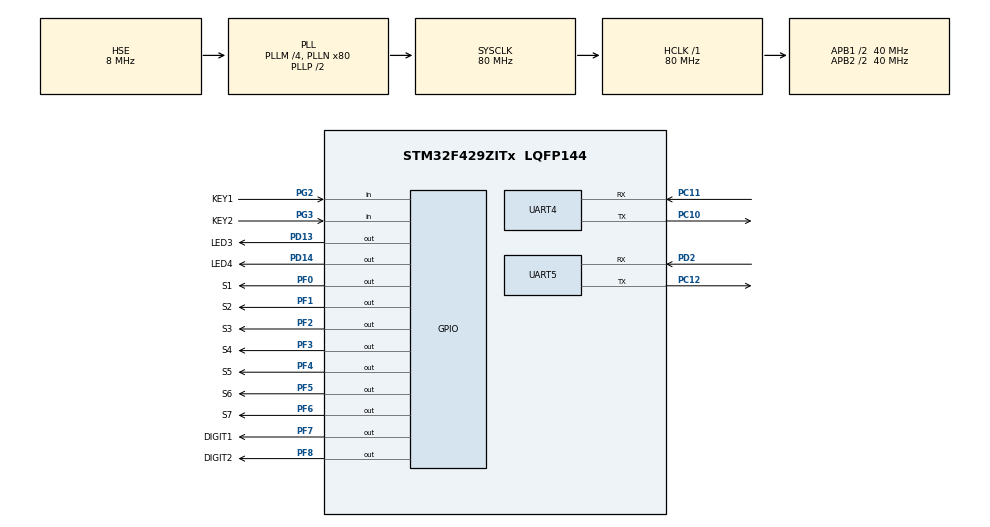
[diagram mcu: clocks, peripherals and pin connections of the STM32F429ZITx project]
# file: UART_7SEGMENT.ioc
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Mcu.Family=STM32F4
Mcu.Name=STM32F429ZITx
Mcu.Package=LQFP144
NVIC.PriorityGroup=NVIC_PRIORITYGROUP_0
NVIC.TIM3_IRQn=true\:0\:0\:false\:false\:true\:true\:true
NVIC.TIM4_IRQn=true\:0\:0\:false\:false\:true\:true\:true
NVIC.UART4_IRQn=true\:0\:0\:false\:false\:true\:true\:true
NVIC.UART5_IRQn=true\:0\:0\:false\:false\:true\:true\:true
PA13.Mode=Serial_Wire
PA13.Signal=SYS_JTMS-SWDIO
PA14.Mode=Serial_Wire
PA14.Signal=SYS_JTCK-SWCLK
PC10.Mode=Asynchronous
PC10.Signal=UART4_TX
PC11.Mode=Asynchronous
PC11.Signal=UART4_RX
PC12.Mode=Asynchronous
PC12.Signal=UART5_TX
PD13.GPIO_Label=LED3
PD13.Signal=GPIO_Output
PD14.GPIO_Label=LED4
PD14.Signal=GPIO_Output
PD2.Mode=Asynchronous
PD2.Signal=UART5_RX
PF0.GPIO_Label=S1
PF0.Signal=GPIO_Output
PF1.GPIO_Label=S2
PF1.Signal=GPIO_Output
PF2.GPIO_Label=S3
PF2.Signal=GPIO_Output
PF3.GPIO_Label=S4
PF3.Signal=GPIO_Output
PF4.GPIO_Label=S5
PF4.Signal=GPIO_Output
PF5.GPIO_Label=S6
PF5.Signal=GPIO_Output
PF6.GPIO_Label=S7
PF6.Signal=GPIO_Output
PF7.GPIO_Label=DIGIT1
PF7.Signal=GPIO_Output
PF8.GPIO_Label=DIGIT2
PF8.Signal=GPIO_Output
PG2.GPIO_Label=KEY1
PG2.GPIO_PuPd=GPIO_PULLUP
PG2.Signal=GPIO_Input
PG3.GPIO_Label=KEY2
PG3.GPIO_PuPd=GPIO_PULLUP
PG3.Signal=GPIO_Input
PH0/OSC_IN.Mode=HSE-External-Oscillator
PH0/OSC_IN.Signal=RCC_OSC_IN
PH1/OSC_OUT.Mode=HSE-External-Oscillator
PH1/OSC_OUT.Signal=RCC_OSC_OUT
ProjectManager.HeapSize=0x200
ProjectManager.StackSize=0x400
ProjectManager.TargetToolchain=STM32CubeIDE
RCC.48MHZClocksFreq_Value=53333333.333333336
RCC.AHBFreq_Value=80000000
RCC.APB1CLKDivider=RCC_HCLK_DIV2
RCC.APB1Freq_Value=40000000
RCC.APB1TimFreq_Value=80000000
RCC.APB2CLKDivider=RCC_HCLK_DIV2
RCC.APB2Freq_Value=40000000
RCC.APB2TimFreq_Value=80000000
RCC.CortexFreq_Value=80000000
RCC.HCLKFreq_Value=80000000
RCC.HSE_VALUE=8000000
RCC.HSI_VALUE=16000000
RCC.LSE_VALUE=32768
RCC.PLLM=4
RCC.PLLN=80
RCC.PLLQ=3
RCC.PLLSourceVirtual=RCC_PLLSOURCE_HSE
RCC.RCC_TIM_PRescaler_Selection=RCC_TIMPRES_DESACTIVATED
RCC.SYSCLKFreq_VALUE=80000000
RCC.SYSCLKSource=RCC_SYSCLKSOURCE_PLLCLK
RCC.VCOOutputFreq_Value=160000000
TIM3.ClockDivision=TIM_CLOCKDIVISION_DIV4
TIM3.Period=99
TIM3.Prescaler=199
TIM4.ClockDivision=TIM_CLOCKDIVISION_DIV4
TIM4.Period=999
TIM4.Prescaler=199
UART4.VirtualMode=Asynchronous
UART5.VirtualMode=Asynchronous
VP_TIM3_VS_ClockSourceINT.Mode=Internal
VP_TIM4_VS_ClockSourceINT.Mode=Internal
board=STM32F429I-DISC1

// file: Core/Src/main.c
/* USER CODE BEGIN Header */
/**
  ******************************************************************************
  * @file           : main.c
  * @brief          : Main program body
  ******************************************************************************
  * @attention
  *
  * Copyright (c) 2022 STMicroelectronics.
  * All rights reserved.
  *
  * This software is licensed under terms that can be found in the LICENSE file
  * in the root directory of this software component.
  * If no LICENSE file comes with this software, it is provided AS-IS.
  *
  ******************************************************************************
  */
/* USER CODE END Header */
#include "main.h"
#include "tim.h"
#include "usart.h"
#include "gpio.h"

/* USER CODE BEGIN PV */
unsigned char f_timer_TX=0;
unsigned char f_seg_timer_500ms;
unsigned char f_timer_100us =0;
unsigned char f_timer_10ms=0;

unsigned char f_timer_30ms=0;
unsigned char i,p_tx1,p_tx2;
unsigned char flag_digit_1=1;
unsigned char tx[3];
unsigned char test[6]={"HELLO\n"};
unsigned char tx2_buffer[10]={"123456789"};
unsigned char tx1_buffer[6]={"abcdef"};

unsigned char rx_buffer1[64];
unsigned char rx_buffer2[64];

unsigned char bufferEvent[64];
unsigned char d_timer_30ms;
unsigned char d_timer_TX;
unsigned char TX_delay_val =255;
unsigned char key1_data, key2_data;
unsigned char state,event;
unsigned char e_rp,e_wp;
unsigned char rx1_rp,rx1_wp;
unsigned char rx2_rp,rx2_wp;

unsigned char uart_tx1_flag,uart_tx2_flag;
unsigned char flag_state_tx1, flag_state_tx;

unsigned char digit1,digit2;
char seven_segment_table[17] = {	0b1111110,	// '0'
		    	0b0110000,	// '1'
		   	0b1101101,	// '2'
			0b1111001,	// '3'
			0b0110011,	// '4'
			0b1011011,	// '5'
			0b1011111,	// '6'
			0b1110000,	// '7'
			0b1111111,	// '8'
			0b1111011,	// '9'
			0b1111101,	// 'a'  --10
			0b0011111,	// 'b'  --11
			0b0001101,	// 'c'  --12
			0b0111101,	// 'd'  --13
			0b1101111,	// 'e'	--14
			0b1000111,	// 'f'  --15
			0b0000001 	// '-'  --16

};
/* USER CODE END PV */

void SystemClock_Config(void);
/* USER CODE BEGIN PFP */
void task_timer(void);
void counting_task(void);
void uart_TX2_task(void);
void uart_TX1_task(void);
void uart_RX1_task(void);
void uart_RX2_task(void);
void led_display_task(void);
void key_read_task(void);
void main_task(void);
void setEvent(unsigned char event);
unsigned char getEvent(void);
void seven_segment_driver(char input,char select_digit);
void TX_delay_decrease(void);
/* USER CODE END PFP */

int main(void)
{

  /* MCU Configuration--------------------------------------------------------*/

  /* Reset of all peripherals, Initializes the Flash interface and the Systick. */
  HAL_Init();

  /* Configure the system clock */
  SystemClock_Config();

  /* Initialize all configured peripherals */
  MX_GPIO_Init();
  MX_TIM3_Init();
  MX_TIM4_Init();
  MX_UART4_Init();
  MX_UART5_Init();
  /* USER CODE BEGIN 2 */
  HAL_TIM_Base_Start_IT(&htim3);
  HAL_TIM_Base_Start_IT(&htim4);

  rx1_rp=0;
  rx2_rp=0;
  rx1_wp=0;
  rx2_wp=0;

  HAL_UART_Receive_IT(&huart4, &rx_buffer1[rx1_wp], 1);
  HAL_UART_Receive_IT(&huart5, &rx_buffer2[rx2_wp], 1);

  /* USER CODE END 2 */

  /* Infinite loop */
  while (1)
  {

    /* USER CODE BEGIN 3 */

	  	  	 task_timer();
	  	     led_display_task();
	  	     key_read_task();

	  	     uart_RX2_task();
	  	     uart_RX1_task();

	  	    // main_task();
  }
  /* USER CODE END 3 */
}

void SystemClock_Config(void)
{
  RCC_OscInitTypeDef RCC_OscInitStruct = {0};
  RCC_ClkInitTypeDef RCC_ClkInitStruct = {0};

  /** Configure the main internal regulator output voltage
  */
  __HAL_RCC_PWR_CLK_ENABLE();
  __HAL_PWR_VOLTAGESCALING_CONFIG(PWR_REGULATOR_VOLTAGE_SCALE3);
  /** Initializes the RCC Oscillators according to the specified parameters
  * in the RCC_OscInitTypeDef structure.
  */
  RCC_OscInitStruct.OscillatorType = RCC_OSCILLATORTYPE_HSE;
  RCC_OscInitStruct.HSEState = RCC_HSE_ON;
  RCC_OscInitStruct.PLL.PLLState = RCC_PLL_ON;
  RCC_OscInitStruct.PLL.PLLSource = RCC_PLLSOURCE_HSE;
  RCC_OscInitStruct.PLL.PLLM = 4;
  RCC_OscInitStruct.PLL.PLLN = 80;
  RCC_OscInitStruct.PLL.PLLP = RCC_PLLP_DIV2;
  RCC_OscInitStruct.PLL.PLLQ = 3;
  if (HAL_RCC_OscConfig(&RCC_OscInitStruct) != HAL_OK)
  {
    Error_Handler();
  }
  /** Initializes the CPU, AHB and APB buses clocks
  */
  RCC_ClkInitStruct.ClockType = RCC_CLOCKTYPE_HCLK|RCC_CLOCKTYPE_SYSCLK
                              |RCC_CLOCKTYPE_PCLK1|RCC_CLOCKTYPE_PCLK2;
  RCC_ClkInitStruct.SYSCLKSource = RCC_SYSCLKSOURCE_PLLCLK;
  RCC_ClkInitStruct.AHBCLKDivider = RCC_SYSCLK_DIV1;
  RCC_ClkInitStruct.APB1CLKDivider = RCC_HCLK_DIV2;
  RCC_ClkInitStruct.APB2CLKDivider = RCC_HCLK_DIV2;

  if (HAL_RCC_ClockConfig(&RCC_ClkInitStruct, FLASH_LATENCY_2) != HAL_OK)
  {
    Error_Handler();
  }
}

/* USER CODE BEGIN 4 */

void uart_RX2_task(void)
{

	if(rx2_rp==rx2_wp) return;

	switch(rx_buffer2[rx2_rp++])
	{
		case 'a':
			digit2=10;
			break;
		case 'b':
			digit2=11;
			break;
		case 'c':
			digit2=12;
			break;
		case 'd':
			digit2=13;
			break;
		case 'e':
			digit2=14;
			break;
		case 'f':
			digit2=15;
			break;
		default:
			break;
	}

	if(rx2_rp>63){
    		rx2_rp=0;
   	 }

}

void uart_RX1_task(void)
{

	if(rx1_rp==rx1_wp) return;

	switch(rx_buffer1[rx1_rp++])
	{
		case '0':
			digit1=0;
			break;
		case '1':
			digit1=1;
			break;
		case '2':
			digit1=2;
			break;
		case '3':
			digit1=3;
			break;

		case '4':
			digit1=4;
			break;
		case '5':
			digit1=5;
			break;
		case '6':
			digit1=6;
			break;
		case '7':
			digit1=7;
			break;
		case '8':
			digit1=8;
			break;
		case '9':
			digit1=9;
			break;
		default:
			break;
	}

	if(rx1_rp>63){
    		rx1_rp=0;
   	 }

}

void led_display_task(void)
{
   if(!f_timer_100us) return;
   f_timer_100us =0;

   flag_digit_1=(~flag_digit_1)&0x1;
   if (flag_digit_1){
	   seven_segment_driver(seven_segment_table[digit1],flag_digit_1);
   }
   else{
	   seven_segment_driver(seven_segment_table[digit2],flag_digit_1);
   }

}

void task_timer(void)
{
	if(!f_timer_10ms) return;       // checking if 10 ms timer interrupt is set (10 ms), if set then do timer task
	f_timer_10ms =0;		// clear the flag to wait next interupt

	d_timer_30ms++;			// count timer for 30 ms interval
				// count timer for LED interval

	if(d_timer_30ms==3)		// checking if the count reached 30 ms
	{
		d_timer_30ms =0;	// assign "0" to repeat counting
		f_timer_30ms=1;		// Set flag to inform 30 ms timer is done counting
	}

	d_timer_TX++;
	if(d_timer_TX>=TX_delay_val)     // checking if the count reached LED interval
	{
		d_timer_TX=0;		// assign "0" to repeat counting
		f_timer_TX=1;

	}

}

void key_read_task(void)
{
	if(!f_timer_30ms) return;  		 // Checking if 30 ms counting is done
	f_timer_30ms =0;          		 // clear the flag to wait next counting

	uint8_t key_pindata = (uint8_t)(KEY1_GPIO_Port->IDR & (KEY1_Pin|KEY2_Pin));

	key1_data = key1_data<<1;      		 //Preparing to read KEY1 Input
	key1_data &= 0b00001110;
	key1_data |= ((key_pindata>>2) & 0x1);			 // Read KEY1 Input

	key2_data = key2_data<<1;		 //Preparing to read KEY2 Input
	key2_data &= 0b00001110;
	key2_data |= (key_pindata>>3);    		 // Read KEY2 Input

	if(key1_data == KEY_PRESSED)    	 // Checking if KEY1 is pressed
	{
		setEvent(EVENT_KEY1_PRESSED);    // Store the event in buffer
		uart_TX1_task();
	}

	if(key1_data == KEY_RELEASED)		//  Checking if KEY1 is released
	{
		setEvent(EVENT_KEY1_RELEASED); // Store the event in buffer
	}

	if(key2_data == KEY_PRESSED)		// Checking if KEY2 is pressed
	{
		setEvent(EVENT_KEY2_PRESSED); // Store the event in buffer
		uart_TX1_task();
	}

	if(key2_data == KEY_RELEASED)		//  Checking if KEY2 is released
	{
		setEvent(EVENT_KEY2_RELEASED); // Store the event in buffer
	}

}

void main_task(void)
{
	/*//	uint8_t led = HAL_GPIO_ReadPin(KEY1_GPIO_Port, KEY1_Pin);
	uint8_t led = (uint8_t)(KEY1_GPIO_Port->IDR & (KEY1_Pin|KEY2_Pin));

	if (led==0b1100){
	 uart_TX1_task();
	}// uart_TX2_task();
	digit1++;
	if (digit1>15){
		digit1=0;
	}

	digit2=digit1;
*/
/*
	if (e_rp!=e_wp){
		event = getEvent();   // if there is event then get the event from buffer
	}else{
		event= EVENT_NO_ENTRY;
	}
	switch(state)

	{       case STATE_IDLE:		// if KEY1 was pressed then start up counting

			switch(event)
			{
			case EVENT_KEY1_PRESSED:

				state = STATE_TX1;
				TX_delay_val=50;
				d_timer_TX=0;

				break;

			case EVENT_KEY2_PRESSED:

				state = STATE_TX2;
				TX_delay_val=50;
				d_timer_TX=0;

				break;
			}

			break;

		case STATE_TX1:	     // if KEY2 was pressed then start down counting

			uart_TX1_task();
			switch(event)
			{
			 case EVENT_TX1_TRANSMITTED:
				TX_delay_decrease();
				break;

			 case EVENT_KEY1_RELEASED:

				state = STATE_IDLE;
				break;
			}

			break;

		case STATE_TX2:	     // if KEY2 was pressed then start down counting

			uart_TX2_task();
			switch(event)
			{
			case EVENT_TX2_TRANSMITTED:
				TX_delay_decrease();
				break;

			case EVENT_KEY2_RELEASED:

				state = STATE_IDLE;
				break;

			}

			break;
	}
*/
}

void TX_delay_decrease(void){

	if (TX_delay_val==10) return;

	TX_delay_val-=5;
}

void uart_TX1_task(void)
{

	if(!f_timer_TX) return;  		 // Checking if 30 ms counting is done
	f_timer_TX =0;
	HAL_UART_Transmit(&huart4, &tx1_buffer[p_tx1++], 1, 10);
	setEvent(EVENT_TX1_TRANSMITTED);
	if(p_tx1>5){
	p_tx1=0;
	}

}

void uart_TX2_task(void)
{

	if(!f_timer_TX) return;  		 // Checking if 30 ms counting is done
	f_timer_TX =0;

	HAL_UART_Transmit(&huart5, &tx2_buffer[p_tx2++], 1, 10);
	setEvent(EVENT_TX2_TRANSMITTED);
	if(p_tx2>8){
	p_tx2=0;
	}

}

void setEvent(unsigned char event)
{
	bufferEvent[e_wp] = event;
	e_wp++;
	if (e_wp>63)
	{
		e_wp=0;
	}
}

unsigned char getEvent(void)
{
	unsigned char event = bufferEvent[e_rp];
	e_rp++;
	if (e_rp>63)
	{
		e_rp=0;
	}
 	 return event;
}

void seven_segment_driver(char input, char select_digit)
{
	uint32_t mask = S1_Pin|S2_Pin|S3_Pin|S4_Pin|S5_Pin|S6_Pin|S7_Pin;
	uint32_t val = ((uint32_t) ~input)&mask;
	if (!select_digit)
	{
		val |= (1)<<7;
	}else
	{
		val |= (1)<<8;

	}
	GPIOF->ODR = val;

}

void HAL_TIM_PeriodElapsedCallback(TIM_HandleTypeDef *htim)
{
  // Check which version of the timer triggered this callback and toggle LED
  if (htim == &htim3)
  {
	  f_timer_100us=1;
  }
  else if(htim == &htim4)
  {
	  f_timer_10ms=1;

  }
}

void HAL_UART_RxCpltCallback(UART_HandleTypeDef *huart)
{
	//HAL_GPIO_TogglePin(LD3_GPIO_Port, LD3_Pin);

	if (huart == &huart4)
	{
		rx1_wp++;
		HAL_UART_Receive_IT(&huart4, &rx_buffer1[rx1_wp], 1);
		 if(rx1_wp>63){
		    	rx1_wp=0;
		    }
	}
	else if(huart == &huart5)
	{
		rx2_wp++;
		HAL_UART_Receive_IT(&huart5, &rx_buffer2[rx2_wp], 1);
		 if(rx2_wp>63){
		    	rx2_wp=0;
		    }
	}

}
/* USER CODE END 4 */

void Error_Handler(void)
{
  __disable_irq();
  while (1)
  {
  }
}
